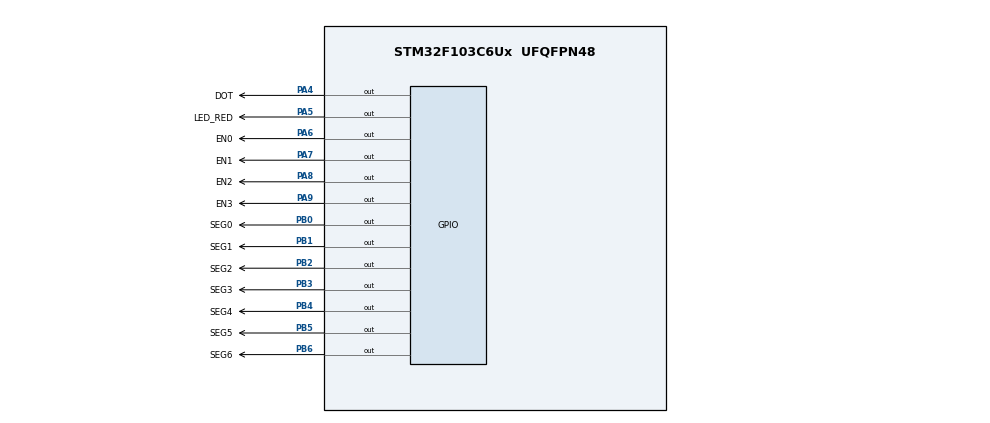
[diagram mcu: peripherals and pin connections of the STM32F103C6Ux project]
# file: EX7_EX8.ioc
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Mcu.Family=STM32F1
Mcu.Name=STM32F103C6Ux
Mcu.Package=UFQFPN48
NVIC.PriorityGroup=NVIC_PRIORITYGROUP_4
NVIC.TIM2_IRQn=true\:0\:0\:false\:false\:true\:true\:true
PA4.GPIO_Label=DOT
PA4.Signal=GPIO_Output
PA5.GPIO_Label=LED_RED
PA5.Signal=GPIO_Output
PA6.GPIO_Label=EN0
PA6.Signal=GPIO_Output
PA7.GPIO_Label=EN1
PA7.Signal=GPIO_Output
PA8.GPIO_Label=EN2
PA8.Signal=GPIO_Output
PA9.GPIO_Label=EN3
PA9.Signal=GPIO_Output
PB0.GPIO_Label=SEG0
PB0.Signal=GPIO_Output
PB1.GPIO_Label=SEG1
PB1.Signal=GPIO_Output
PB2.GPIO_Label=SEG2
PB2.Signal=GPIO_Output
PB3.GPIO_Label=SEG3
PB3.Signal=GPIO_Output
PB4.GPIO_Label=SEG4
PB4.Signal=GPIO_Output
PB5.GPIO_Label=SEG5
PB5.Signal=GPIO_Output
PB6.GPIO_Label=SEG6
PB6.Signal=GPIO_Output
ProjectManager.HeapSize=0x200
ProjectManager.StackSize=0x400
ProjectManager.TargetToolchain=STM32CubeIDE
RCC.APB1Freq_Value=8000000
RCC.APB2Freq_Value=8000000
TIM2.Period=9
TIM2.Prescaler=7999
VP_SYS_VS_ND.Mode=No_Debug
VP_TIM2_VS_ClockSourceINT.Mode=Internal
board=custom

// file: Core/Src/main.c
/* USER CODE BEGIN Header */
/**
  ******************************************************************************
  * @file           : main.c
  * @brief          : Main program body
  ******************************************************************************
  * @attention
  *
  * <h2><center>&copy; Copyright (c) 2024 STMicroelectronics.
  * All rights reserved.</center></h2>
  *
  * This software component is licensed by ST under BSD 3-Clause license,
  * the "License"; You may not use this file except in compliance with the
  * License. You may obtain a copy of the License at:
  *                        opensource.org/licenses/BSD-3-Clause
  *
  ******************************************************************************
  */
/* USER CODE END Header */
#include <updateClockBuffer.h>
#include <display7SEG.h>
#include <update7SEG.h>
#include "main.h"
#include "software_timer.h"
#include "clocks.h"
#include "variable_global.h"

TIM_HandleTypeDef htim2;

void SystemClock_Config(void);
static void MX_GPIO_Init(void);
static void MX_TIM2_Init(void);

int main(void)
{

  /* MCU Configuration--------------------------------------------------------*/

  /* Reset of all peripherals, Initializes the Flash interface and the Systick. */
  HAL_Init();

  /* Configure the system clock */
  SystemClock_Config();

  /* Initialize all configured peripherals */
  MX_GPIO_Init();
  MX_TIM2_Init();
  /* USER CODE BEGIN 2 */
  HAL_TIM_Base_Start_IT(&htim2);
  /* USER CODE END 2 */

  /* Infinite loop */
  /* USER CODE BEGIN WHILE */
  setTimer0(1000);
  setTimer1(1000);
  setTimer2(1000);
  while (1)
  {
    /* USER CODE END WHILE */

    /* USER CODE BEGIN 3 */
	  if(timer0_flag == 1)
	  { // DOT RED LED
		  HAL_GPIO_TogglePin(LED_RED_GPIO_Port, LED_RED_Pin);
		  HAL_GPIO_TogglePin(DOT_GPIO_Port, DOT_Pin);
		  setTimer0(1000);
	  }
	  if(timer1_flag == 1)
	  {//clock
		  clocks();
		  updateClockBuffer();
		  setTimer1(1000);
	  }
	  if(timer2_flag == 1)
	  {
		  update7SEG(index_led++);
		  if(index_led == MAX_LED )
		  {
			  index_led = 0;
		  }
		  setTimer2(250);
	  }
  }
  /* USER CODE END 3 */
}

void SystemClock_Config(void)
{
  RCC_OscInitTypeDef RCC_OscInitStruct = {0};
  RCC_ClkInitTypeDef RCC_ClkInitStruct = {0};

  /** Initializes the RCC Oscillators according to the specified parameters
  * in the RCC_OscInitTypeDef structure.
  */
  RCC_OscInitStruct.OscillatorType = RCC_OSCILLATORTYPE_HSI;
  RCC_OscInitStruct.HSIState = RCC_HSI_ON;
  RCC_OscInitStruct.HSICalibrationValue = RCC_HSICALIBRATION_DEFAULT;
  RCC_OscInitStruct.PLL.PLLState = RCC_PLL_NONE;
  if (HAL_RCC_OscConfig(&RCC_OscInitStruct) != HAL_OK)
  {
    Error_Handler();
  }
  /** Initializes the CPU, AHB and APB buses clocks
  */
  RCC_ClkInitStruct.ClockType = RCC_CLOCKTYPE_HCLK|RCC_CLOCKTYPE_SYSCLK
                              |RCC_CLOCKTYPE_PCLK1|RCC_CLOCKTYPE_PCLK2;
  RCC_ClkInitStruct.SYSCLKSource = RCC_SYSCLKSOURCE_HSI;
  RCC_ClkInitStruct.AHBCLKDivider = RCC_SYSCLK_DIV1;
  RCC_ClkInitStruct.APB1CLKDivider = RCC_HCLK_DIV1;
  RCC_ClkInitStruct.APB2CLKDivider = RCC_HCLK_DIV1;

  if (HAL_RCC_ClockConfig(&RCC_ClkInitStruct, FLASH_LATENCY_0) != HAL_OK)
  {
    Error_Handler();
  }
}

static void MX_TIM2_Init(void)
{

  TIM_ClockConfigTypeDef sClockSourceConfig = {0};
  TIM_MasterConfigTypeDef sMasterConfig = {0};

  htim2.Instance = TIM2;
  htim2.Init.Prescaler = 7999;
  htim2.Init.CounterMode = TIM_COUNTERMODE_UP;
  htim2.Init.Period = 9;
  htim2.Init.ClockDivision = TIM_CLOCKDIVISION_DIV1;
  htim2.Init.AutoReloadPreload = TIM_AUTORELOAD_PRELOAD_DISABLE;
  if (HAL_TIM_Base_Init(&htim2) != HAL_OK)
  {
    Error_Handler();
  }
  sClockSourceConfig.ClockSource = TIM_CLOCKSOURCE_INTERNAL;
  if (HAL_TIM_ConfigClockSource(&htim2, &sClockSourceConfig) != HAL_OK)
  {
    Error_Handler();
  }
  sMasterConfig.MasterOutputTrigger = TIM_TRGO_RESET;
  sMasterConfig.MasterSlaveMode = TIM_MASTERSLAVEMODE_DISABLE;
  if (HAL_TIMEx_MasterConfigSynchronization(&htim2, &sMasterConfig) != HAL_OK)
  {
    Error_Handler();
  }

}

static void MX_GPIO_Init(void)
{
  GPIO_InitTypeDef GPIO_InitStruct = {0};

  /* GPIO Ports Clock Enable */
  __HAL_RCC_GPIOA_CLK_ENABLE();
  __HAL_RCC_GPIOB_CLK_ENABLE();

  /*Configure GPIO pin Output Level */
  HAL_GPIO_WritePin(GPIOA, DOT_Pin|LED_RED_Pin|EN0_Pin|EN1_Pin
                          |EN2_Pin|EN3_Pin, GPIO_PIN_RESET);

  /*Configure GPIO pin Output Level */
  HAL_GPIO_WritePin(GPIOB, SEG0_Pin|SEG1_Pin|SEG2_Pin|SEG3_Pin
                          |SEG4_Pin|SEG5_Pin|SEG6_Pin, GPIO_PIN_RESET);

  /*Configure GPIO pins : DOT_Pin LED_RED_Pin EN0_Pin EN1_Pin
                           EN2_Pin EN3_Pin */
  GPIO_InitStruct.Pin = DOT_Pin|LED_RED_Pin|EN0_Pin|EN1_Pin
                          |EN2_Pin|EN3_Pin;
  GPIO_InitStruct.Mode = GPIO_MODE_OUTPUT_PP;
  GPIO_InitStruct.Pull = GPIO_NOPULL;
  GPIO_InitStruct.Speed = GPIO_SPEED_FREQ_LOW;
  HAL_GPIO_Init(GPIOA, &GPIO_InitStruct);

  /*Configure GPIO pins : SEG0_Pin SEG1_Pin SEG2_Pin SEG3_Pin
                           SEG4_Pin SEG5_Pin SEG6_Pin */
  GPIO_InitStruct.Pin = SEG0_Pin|SEG1_Pin|SEG2_Pin|SEG3_Pin
                          |SEG4_Pin|SEG5_Pin|SEG6_Pin;
  GPIO_InitStruct.Mode = GPIO_MODE_OUTPUT_PP;
  GPIO_InitStruct.Pull = GPIO_NOPULL;
  GPIO_InitStruct.Speed = GPIO_SPEED_FREQ_LOW;
  HAL_GPIO_Init(GPIOB, &GPIO_InitStruct);

}

/* USER CODE BEGIN 4 */
void HAL_TIM_PeriodElapsedCallback(TIM_HandleTypeDef *htim)
{
	timerRun();
}
/* USER CODE END 4 */

void Error_Handler(void)
{
  __disable_irq();
  while (1)
  {
  }
}

/************************ (C) COPYRIGHT STMicroelectronics *****END OF FILE****/
